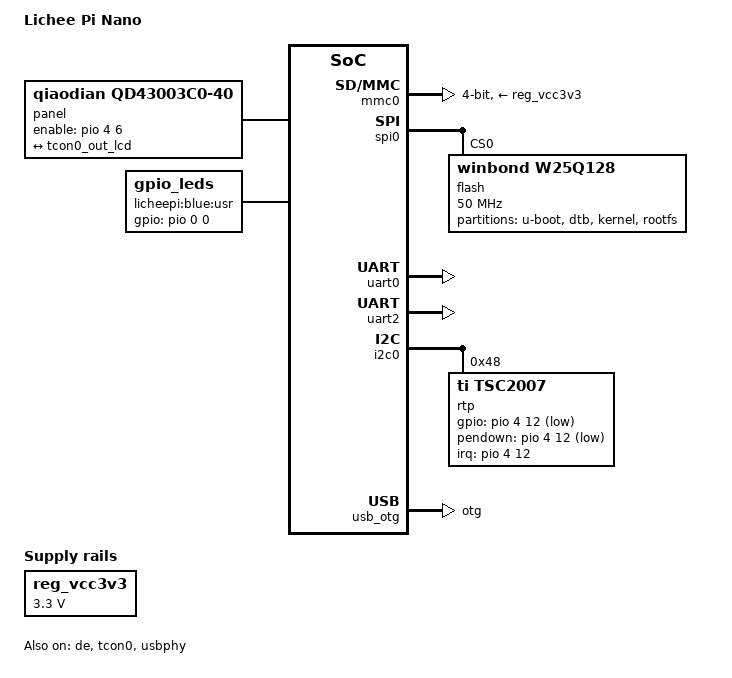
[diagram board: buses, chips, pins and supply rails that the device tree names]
// SPDX-License-Identifier: (GPL-2.0+ OR X11)
/*
 * Copyright 2018 Icenowy Zheng <icenowy@aosc.io>
 */

/dts-v1/;
#include "suniv-f1c200s.dtsi"

#include <dt-bindings/gpio/gpio.h>
#include <dt-bindings/input/input.h>
#include <dt-bindings/interrupt-controller/irq.h>

/ {
	model = "Lichee Pi Nano";
	compatible = "mangopi,mangopi-r3", "allwinner,suniv-f1c200s",
		     "allwinner,suniv";

	aliases {
		serial0 = &uart0;
		spi0 = &spi0;
	};

	chosen {
		stdout-path = "serial0:115200n8";
	};

	panel: panel {
		compatible = "qiaodian,qd43003c0-40", "simple-panel";
		#address-cells = <1>;
		#size-cells = <0>;
		enable-gpios = <&pio 4 6 GPIO_ACTIVE_HIGH>;

		port@0 {
			reg = <0>;
			#address-cells = <1>;
			#size-cells = <0>;

			panel_input: endpoint@0 {
				reg = <0>;
				remote-endpoint = <&tcon0_out_lcd>;
			};
		};
	};

	leds {
		compatible = "gpio_leds";
		
		//blue {
			label = "licheepi:blue:usr";
			gpios = <&pio 0 0 GPIO_ACTIVE_HIGH>; /* PA0 */
			default-state = "on";	
		//};
		
	};

	reg_vcc3v3: vcc3v3 {
		compatible = "regulator-fixed";
		regulator-name = "vcc3v3";
		regulator-min-microvolt = <3300000>;
		regulator-max-microvolt = <3300000>;
	};
};

&de {
	status = "okay";
};

&mmc0 {
	vmmc-supply = <&reg_vcc3v3>;
	bus-width = <4>;
	broken-cd;
	status = "okay";
};

&otg_sram {
	status = "okay";
};

&spi0 {
	pinctrl-names = "default";
	pinctrl-0 = <&spi0_pins_a>;
	status = "okay";

    	flash: w25q128@0 {
		#address-cells = <1>;
		#size-cells = <1>;
		compatible = "winbond,w25q128", "jedec,spi-nor";
		reg = <0>;
		spi-max-frequency = <50000000>;
		partitions {
		    compatible = "fixed-partitions";
		    #address-cells = <1>;
		    #size-cells = <1>;

		    partition@0 {
			label = "u-boot";
			reg = <0x000000 0x100000>;
			read-only;
		    };

		    partition@100000 {
			label = "dtb";
			reg = <0x100000 0x10000>;
			read-only;
		    };

		    partition@110000 {
			label = "kernel";
			reg = <0x110000 0x400000>;
			read-only;
		    };

		    partition@510000 {
			label = "rootfs";
			reg = <0x510000 0xAF0000>;
		    };
		    /*partition@c00000 {
			label = "userfs";
			reg = <0xc00000 0x400000>;
		    };*/
		};
    };
};

&tcon0 {
	pinctrl-names = "default";
	pinctrl-0 = <&lcd_rgb666_pins>;
	status = "okay";
};

&tcon0_out {
	tcon0_out_lcd: endpoint@0 {
		reg = <0>;
		remote-endpoint = <&panel_input>;
	};
};

&uart0 {
	pinctrl-names = "default";
	pinctrl-0 = <&uart0_pe_pins>;
	status = "okay";
};

&uart2 {
	pinctrl-names = "default";
	pinctrl-0 = <&uart2_pe_pins>;
	status = "okay";
};

&i2c0 {
	pinctrl-names = "default";
	pinctrl-0 = <&i2c0_pd_pins>;
	status = "okay";
	
	rtp@48 {
		compatible = "ti,tsc2007";
		reg = <0x48>;
		interrupt-parent = <&pio>;
		interrupts = <4 12 IRQ_TYPE_EDGE_FALLING>;
		gpios = <&pio 4 12 GPIO_ACTIVE_LOW>;
		pendown-gpio = <&pio 4 12 GPIO_ACTIVE_LOW>;
		ti,x-plate-ohms = <660>;
		wakeup-source;
	};
};

&usb_otg {
	dr_mode = "otg";
	status = "okay";
};

&usbphy {
	usb0_id_det-gpio = <&pio 4 2 GPIO_ACTIVE_HIGH>; /* PE2 */
	status = "okay";
};
